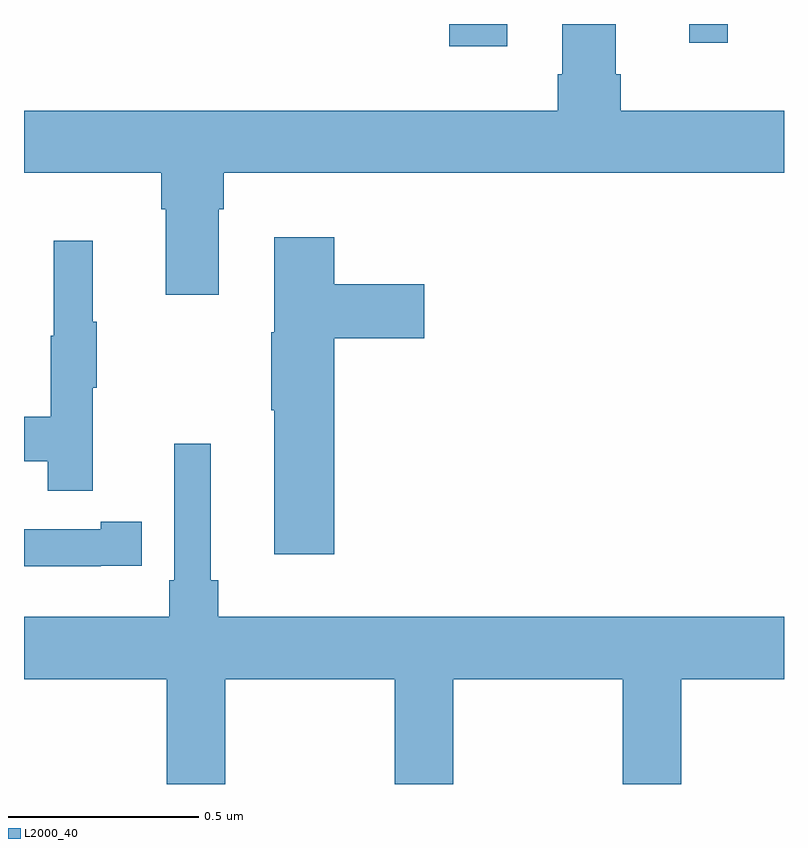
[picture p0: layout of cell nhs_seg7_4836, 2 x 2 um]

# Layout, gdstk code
import gdstk
lib = gdstk.Library(unit=1e-6, precision=1e-09)
def R(c, l, rs):  # rectangles x0, y0, x1, y1
    for r in rs: c.add(gdstk.rectangle(r[:2], r[2:], *l))
def P(c, l, *ps):  # polygons
    for p in ps: c.add(gdstk.Polygon(p, *l))
L2000_40 = (2000, 40)

nhs_seg7_4836 = lib.new_cell('nhs_seg7_4836')
R(nhs_seg7_4836, L2000_40, [(179.119,1008.942,179.272,1009), (179.75,1008.951,179.852,1009)])
P(nhs_seg7_4836, L2000_40, [(178.513,1008.512),(178.526,1008.512),(178.526,1008.608),(180,1008.608),(180,1008.772),(179.57,1008.772),(179.57,1008.868),(179.557,1008.868),(179.557,1009),(179.417,1009),(179.417,1008.868),(179.405,1008.868),(179.405,1008.772),(178,1008.772),(178,1008.608),(178.361,1008.608),(178.361,1008.512),(178.373,1008.512),(178.373,1008.288),(178.513,1008.288)],
  [(178.817,1008.173),(179.053,1008.173),(179.053,1008.315),(178.817,1008.315),(178.817,1008.439),(178.658,1008.439),(178.658,1008.189),(178.651,1008.189),(178.651,1007.983),(178.658,1007.983),(178.658,1007.604),(178.817,1007.604)],
  [(178.181,1008.043),(178.192,1008.043),(178.192,1008.217),(178.181,1008.217),(178.181,1008.43),(178.078,1008.43),(178.078,1008.18),(178.071,1008.18),(178.071,1007.966),(178,1007.966),(178,1007.85),(178.063,1007.85),(178.063,1007.772),(178.181,1007.772)],
  [(178.53,1007.276),(178.975,1007.276),(178.975,1007),(179.13,1007),(179.13,1007.276),(179.575,1007.276),(179.575,1007),(179.73,1007),(179.73,1007.276),(180,1007.276),(180,1007.44),(178.511,1007.44),(178.511,1007.536),(178.492,1007.536),(178.492,1007.896),(178.395,1007.896),(178.395,1007.536),(178.382,1007.536),(178.382,1007.44),(178,1007.44),(178,1007.276),(178.375,1007.276),(178.375,1007),(178.53,1007)],
  [(178.202,1007.574),(178.31,1007.574),(178.31,1007.69),(178.202,1007.69),(178.202,1007.67),(178,1007.67),(178,1007.573),(178.202,1007.573)])

lib.write_gds('nhs_seg7_4836.gds')
